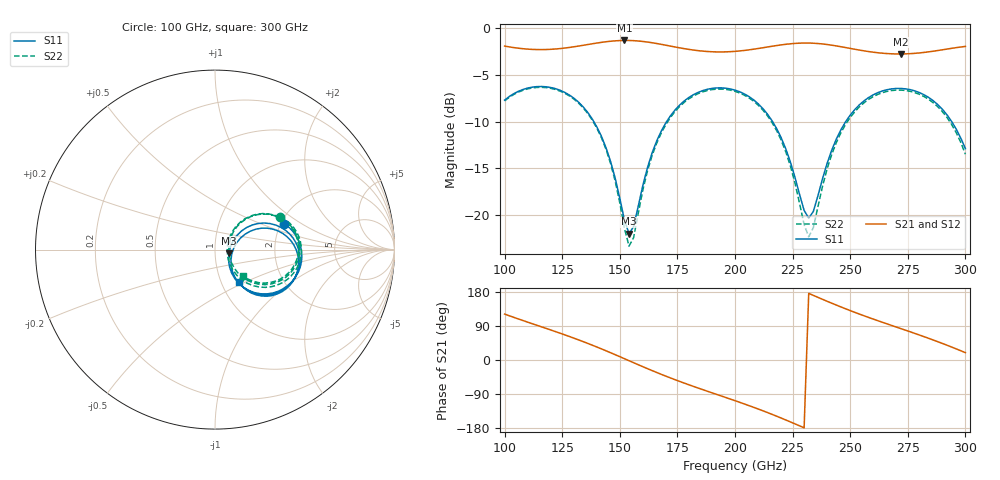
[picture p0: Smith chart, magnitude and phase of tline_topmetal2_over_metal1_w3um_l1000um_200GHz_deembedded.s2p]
! Created with skrf 2.0.1 (http://scikit-rf.org).
# GHz S DB R 50.0
!freq dBS11 angS11 dBS21 angS21 dBS12 angS12 dBS22 angS22
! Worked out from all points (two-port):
!   101 points, 100 GHz to 300 GHz, reference 50 ohm
!   highest |S21| = -1.35 dB at 152 GHz (marker M1); lowest = -2.8 dB at 272 GHz (marker M2)
!   |S21| within 3 dB of the highest: start of sweep to end of sweep
!   lowest |S11| = -22.0 dB at 154 GHz (marker M3), VSWR 1.17, Z = 58.3 - j2.4 ohm
!   |S11| at or under -10 dB: 138.7 GHz to 170.3 GHz (31.65 GHz wide, 20.5 % of centre); 216.3 GHz to 248.1 GHz (31.79 GHz wide, 13.7 % of centre); 294 GHz to end of sweep
!   |S22| runs from -23.3 to -6.3 dB; largest |S21 - S12| = 1.5e-13
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100  -7.71 20.5  -1.95 121.2  -1.95 121.2  -7.79 26.7
116  -6.26 -8.4  -2.33 87.6  -2.33 87.6  -6.35 -1.6
134  -8.41 -40.5  -1.87 48.7  -1.87 48.7  -8.51 -33.4
144  -12.78 -54.8  -1.49 24.3  -1.49 24.3  -12.95 -48.4
152  -20.49 -37.3  -1.35 3.5  -1.35 3.5  -21.36 -32.4
154  -21.97 -14.9  -1.35 -1.8  -1.35 -1.8  -23.29 -7.3
156  -21.21 10.0  -1.37 -7.1  -1.37 -7.1  -22.38 22.1
162  -14.92 35.1  -1.52 -22.8  -1.52 -22.8  -15.27 47.9
168  -11.01 31.1  -1.77 -37.8  -1.77 -37.8  -11.22 43.1
182  -7.13 8.4  -2.38 -69.8  -2.38 -69.8  -7.27 20.0
200  -6.65 -22.6  -2.51 -107.4  -2.51 -107.4  -6.78 -11.0
216  -9.89 -48.7  -1.97 -143.2  -1.97 -143.2  -10.07 -38.1
224  -14.28 -54.3  -1.71 -163.2  -1.71 -163.2  -14.70 -45.6
232  -20.30 -14.3  -1.63 175.8  -1.63 175.8  -22.29 -1.7
234  -19.59 4.8  -1.65 170.5  -1.65 170.5  -21.32 22.8
240  -14.44 27.2  -1.79 154.9  -1.79 154.9  -15.02 46.3
248  -10.02 22.2  -2.11 135.1  -2.11 135.1  -10.30 39.6
258  -7.44 6.9  -2.54 112.3  -2.54 112.3  -7.63 23.4
268  -6.52 -9.5  -2.77 91.1  -2.77 91.1  -6.69 6.4
272  -6.47 -16.1  -2.79 82.8  -2.79 82.8  -6.64 -0.4
288  -8.19 -41.8  -2.43 48.3  -2.43 48.3  -8.42 -27.6
300  -12.89 -53.8  -1.99 19.4  -1.99 19.4  -13.48 -43.3
